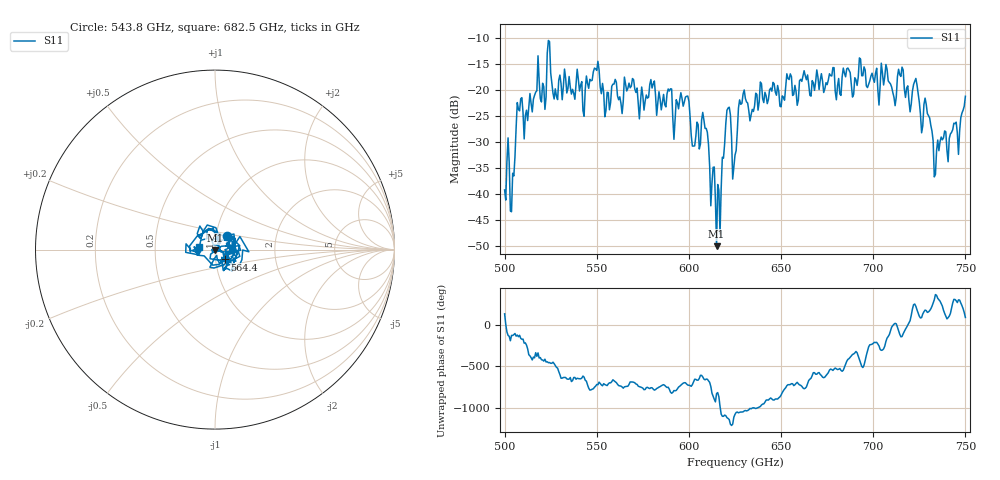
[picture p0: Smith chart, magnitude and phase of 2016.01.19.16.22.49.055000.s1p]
!Created with skrf (http://scikit-rf.org).
# GHz S RI R 50.0
!freq ReS11 ImS11
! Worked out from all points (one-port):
!   401 points, 500 GHz to 750 GHz, reference 50 ohm
!   lowest |S11| = -50.1 dB at 615 GHz (marker M1), VSWR 1.01, Z = 49.9 - j0.294 ohm
!   |S11| at or under -10 dB: start of sweep to end of sweep
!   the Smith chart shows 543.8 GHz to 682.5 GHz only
!   S11 on the Smith chart (normalised r, x): 543.8 GHz: 1.12, +0.18; 564.4 GHz: 1.11, -0.12; 682.5 GHz: 0.84, +0.03
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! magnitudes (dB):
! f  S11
! 500 GHz  -39.3
! 504.4 GHz  -36.1
! 508.1 GHz  -24.0
! 521.2 GHz  -19.3
! 524.4 GHz  -10.7
! 527.5 GHz  -19.8
! 531.2 GHz  -21.9
! 543.8 GHz  -19.9
! 550 GHz  -16.2
! 562.5 GHz  -21.3
! 564.4 GHz  -22.2
! 593.8 GHz  -22.4
! 598.8 GHz  -21.2
! 602.5 GHz  -30.8
! 608.8 GHz  -27.4
! 615 GHz  -50.1
! 616.2 GHz  -39.3
! 621.2 GHz  -23.5
! 625 GHz  -32.6
! 628.8 GHz  -22.6
! 656.2 GHz  -21.1
! 682.5 GHz  -21.0
! 687.5 GHz  -16.7
! 715 GHz  -17.4
! 718.8 GHz  -19.2
! 723.1 GHz  -17.8
! 734.4 GHz  -31.6
! 750 GHz  -21.2
